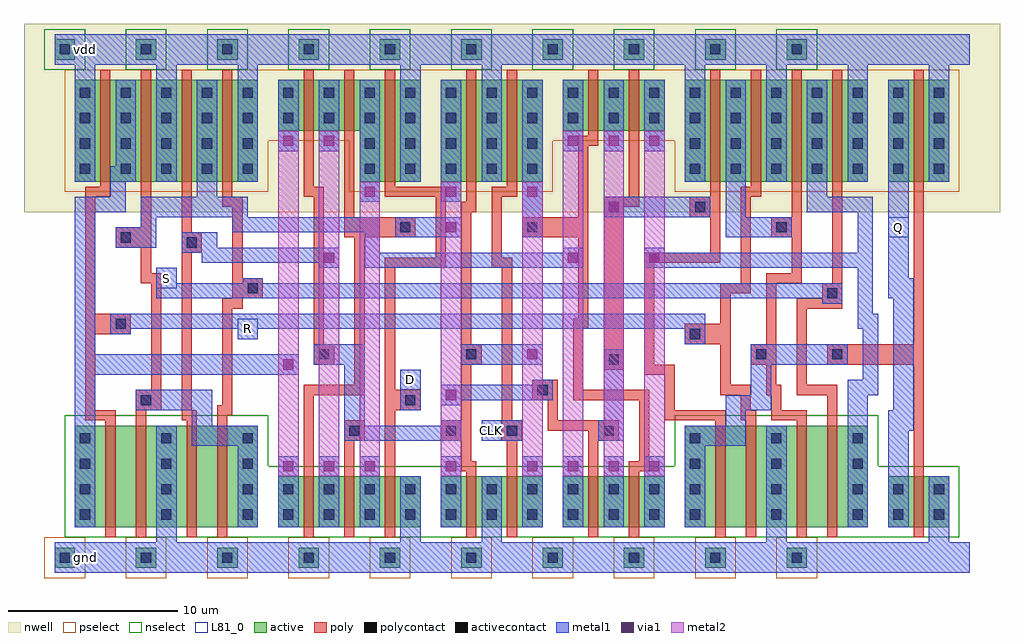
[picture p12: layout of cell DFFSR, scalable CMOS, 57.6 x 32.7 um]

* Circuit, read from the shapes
.subckt DFFSR CLK D Q R S gnd vdd
M1 n1 R n2 gnd nfet w=6u l=0.6u
M2 gnd n3 n1 gnd nfet w=6u l=0.6u
M3 n4 n5 gnd gnd nfet w=6u l=0.6u
M4 n3 S n4 gnd nfet w=6u l=0.6u
M5 n5 n6 n2 gnd nfet w=3u l=0.6u
M6 n7 n8 n5 gnd nfet w=3u l=0.6u
M7 gnd D n7 gnd nfet w=3u l=0.6u
M8 gnd n8 n6 gnd nfet w=3u l=0.6u
M9 n8 CLK gnd gnd nfet w=3u l=0.6u
M10 n9 n6 n3 gnd nfet w=3u l=0.6u
M11 n10 n8 n9 gnd nfet w=3u l=0.6u
M12 n11 n9 n12 gnd nfet w=6u l=0.6u
M13 gnd R n11 gnd nfet w=6u l=0.6u
M14 n13 n12 gnd gnd nfet w=6u l=0.6u
M15 n10 S n13 gnd nfet w=6u l=0.6u
M16 gnd n12 Q gnd nfet w=3u l=0.6u
M17 n2 R vdd vdd pfet w=6u l=0.6u
M18 vdd n3 n2 vdd pfet w=6u l=0.6u
M19 n3 n5 vdd vdd pfet w=6u l=0.6u
M20 vdd S n3 vdd pfet w=6u l=0.6u
M21 n5 n8 n2 vdd pfet w=3u l=0.6u
M22 n7 n6 n5 vdd pfet w=3u l=0.6u
M23 vdd D n7 vdd pfet w=6u l=0.6u
M24 vdd n8 n6 vdd pfet w=6u l=0.6u
M25 n8 CLK vdd vdd pfet w=6u l=0.6u
M26 n9 n8 n3 vdd pfet w=3u l=0.6u
M27 n10 n6 n9 vdd pfet w=3u l=0.6u
M28 n12 n9 vdd vdd pfet w=6u l=0.6u
M29 vdd R n12 vdd pfet w=6u l=0.6u
M30 n10 n12 vdd vdd pfet w=6u l=0.6u
M31 vdd S n10 vdd pfet w=6u l=0.6u
M32 vdd n12 Q vdd pfet w=6u l=0.6u
.ends

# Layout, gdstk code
import gdstk
lib = gdstk.Library(unit=1e-6, precision=1e-08)
def R(c, l, rs):  # rectangles x0, y0, x1, y1
    for r in rs: c.add(gdstk.rectangle(r[:2], r[2:], *l))
def A(c, l, x, y, w, h, nx, ny, dx, dy):  # array of equal rectangles
    R(c, l, [(x+i*dx, y+j*dy, x+i*dx+w, y+j*dy+h) for i in range(nx) for j in range(ny)])
nwell = (42, 0)
active = (43, 0)
pselect = (44, 0)
nselect = (45, 0)
poly = (46, 0)
polycontact = (47, 0)
activecontact = (48, 0)
metal1 = (49, 0)
via1 = (50, 0)
metal2 = (51, 0)
L81_0 = (81, 0)

dffsr = lib.new_cell('DFFSR')
R(dffsr, nwell, [(-2.4,20.4,55.2,31.5)])
A(dffsr, active, -0.6, -0.6, 1.2, 1.2, 10, 2, 4.8, 30)
R(dffsr, active, [(0.6,1.8,11.4,7.8), (12.6,1.8,21,4.8), (22.2,1.8,28.2,4.8), (29.4,1.8,35.4,4.8), (36.6,1.8,47.4,7.8), (48.6,1.8,52.2,4.8), (0.6,22.2,11.4,28.2), (17.4,22.2,21,25.2), (22.2,22.2,28.2,28.2), (36.6,22.2,47.4,28.2), (48.6,22.2,52.2,28.2), (12.6,25.2,21,28.2), (29.4,25.2,35.4,28.2)])
A(dffsr, pselect, -1.2, -1.2, 2.4, 2.4, 10, 1, 4.8, 0)
R(dffsr, pselect, [(0,21.6,12,24.6), (16.8,21.6,28.8,24.6), (36,21.6,52.8,24.6), (0,24.6,52.8,28.8)])
A(dffsr, nselect, -1.2, 28.8, 2.4, 2.4, 10, 1, 4.8, 0)
R(dffsr, nselect, [(0,1.2,52.8,5.4), (0,5.4,12,8.4), (36,5.4,48,8.4)])
R(dffsr, poly, [(2.4,1.2,3,8.1), (4.2,1.2,4.8,8.7), (7.2,1.2,7.8,8.1), (9,1.2,9.6,8.4), (14.1,1.2,14.7,9.6), (16.5,1.2,17.1,6.9), (18.9,1.2,19.5,8.7), (23.7,1.2,24.3,5.1), (26.1,1.2,26.7,6.9), (30.9,1.2,31.5,6.9), (33.3,1.2,33.9,5.1), (38.4,1.2,39,8.1), (40.2,1.2,40.8,8.1), (43.2,1.2,43.8,8.1), (45,1.2,45.6,9.6), (50.1,1.2,50.7,11.4), (23.4,5.1,24.3,5.7), (33.3,5.1,34.5,5.7), (23.4,5.7,24,6.9), (33.9,5.7,34.5,9.3), (16.5,6.9,17.7,8.1), (22.2,6.9,24,8.1), (25.8,6.9,27,8.1), (30.9,6.9,32.7,7.5), (28.5,7.5,32.7,8.1), (1.2,8.1,3,8.7), (6.9,8.1,7.8,8.7), (23.4,8.1,24,11.4), (25.8,8.1,26.4,17.1), (28.5,8.1,29.1,9.3), (35.4,8.1,39,8.7), (39.9,8.1,40.8,8.7), (41.7,8.1,43.8,8.7), (9,8.4,9.9,9), (1.2,8.7,1.8,13.2), (4.2,8.7,5.7,9.9), (6.9,8.7,7.5,18), (18.9,8.7,21,9.9), (35.4,8.7,36,10.8), (39.9,8.7,40.5,9.6), (41.7,8.7,42.3,9.6), (9.3,9,9.9,14.7), (27.6,9.3,29.1,10.5), (30,9.3,34.5,9.9), (14.1,9.6,17.7,10.2), (38.7,9.6,40.5,10.2), (41.4,9.6,42.3,10.2), (43.2,9.6,45.6,10.2), (5.1,9.9,5.7,16.2), (18.9,9.9,19.5,17.1), (30,9.9,30.6,13.5), (17.1,10.2,17.7,18.9), (38.7,10.2,39.3,12.6), (41.4,10.2,42,11.4), (43.2,10.2,43.8,14.7), (34.2,10.8,36,11.4), (31.8,11.1,33,20.7), (14.7,11.4,15.9,12.6), (23.4,11.4,24.6,12.6), (34.2,11.4,34.8,17.4), (40.5,11.4,42,12.6), (45,11.4,50.7,12.6), (14.7,12.6,15.3,21.3), (23.4,12.6,24,20.4), (36.6,12.6,39.3,13.8), (41.4,12.6,42,16.2), (50.1,12.6,50.7,28.8), (1.2,13.2,3.9,14.4), (30,13.5,30.9,14.1), (38.7,13.8,39.3,15.6), (30.3,14.1,30.9,18.9), (1.2,14.4,1.8,21.3), (9.3,14.7,10.5,15.3), (43.2,14.7,45.9,15.3), (9.9,15.3,11.7,16.5), (44.7,15.3,45.9,16.2), (38.7,15.6,40.5,16.2), (4.5,16.2,5.7,16.8), (39.9,16.2,40.5,21.3), (41.4,16.2,43.5,16.8), (45.3,16.2,45.9,28.8), (9.9,16.5,10.5,20.7), (4.5,16.8,5.1,18.3), (42.9,16.8,43.5,18.9), (18.9,17.1,22.5,17.7), (25.2,17.1,26.4,17.7), (34.2,17.4,38.7,18), (21.9,17.7,22.5,21.3), (25.2,17.7,25.8,21.3), (6.9,18,8.1,19.2), (38.1,18,38.7,20.1), (3,18.3,5.1,19.5), (16.5,18.9,20.7,20.1), (27,18.9,30.9,20.1), (41.7,18.9,43.5,20.1), (6.9,19.2,7.5,28.8), (4.5,19.5,5.1,28.8), (16.5,20.1,17.1,28.8), (30.3,20.1,30.9,24.3), (36.9,20.1,38.7,21.3), (42.9,20.1,43.5,28.8), (23.4,20.4,24.3,21), (9.3,20.7,10.5,21.3), (31.8,20.7,33.9,21.3), (23.7,21,24.3,28.8), (1.2,21.3,2.7,21.9), (9.3,21.3,9.9,28.8), (14.1,21.3,15.3,21.9), (18.9,21.3,22.5,21.9), (25.2,21.3,26.7,21.9), (33.3,21.3,33.9,28.8), (38.1,21.3,38.7,28.8), (39.9,21.3,41.1,21.9), (2.1,21.9,2.7,28.8), (14.1,21.9,14.7,28.8), (18.9,21.9,19.5,28.8), (26.1,21.9,26.7,28.8), (40.5,21.9,41.1,28.8), (30.3,24.3,31.5,24.9), (30.9,24.9,31.5,28.8)])
R(dffsr, polycontact, [(16.8,7.2,17.4,7.8), (22.5,7.2,23.1,7.8), (26.1,7.2,26.7,7.8), (31.8,7.2,32.4,7.8), (4.5,9,5.1,9.6), (20.1,9,20.7,9.6), (27.9,9.6,28.5,10.2), (32.1,11.4,32.7,12), (15,11.7,15.6,12.3), (23.7,11.7,24.3,12.3), (40.8,11.7,41.4,12.3), (45.3,11.7,45.9,12.3), (36.9,12.9,37.5,13.5), (3,13.5,3.6,14.1), (45,15.3,45.6,15.9), (10.8,15.6,11.4,16.2), (7.2,18.3,7.8,18.9), (3.3,18.6,3.9,19.2), (19.8,19.2,20.4,19.8), (27.3,19.2,27.9,19.8), (42,19.2,42.6,19.8), (37.2,20.4,37.8,21)])
A(dffsr, activecontact, -0.3, -0.3, 0.6, 0.6, 10, 2, 4.8, 30)
A(dffsr, activecontact, 0.9, 2.25, 0.6, 0.6, 3, 4, 4.8, 1.5)
A(dffsr, activecontact, 12.9, 2.25, 0.6, 0.6, 11, 2, 2.4, 1.5)
A(dffsr, activecontact, 46.5, 2.25, 0.6, 0.6, 3, 2, 2.4, 1.5)
A(dffsr, activecontact, 36.9, 5.25, 0.6, 0.6, 3, 2, 4.8, 1.5)
A(dffsr, activecontact, 0.9, 22.65, 0.6, 0.6, 5, 2, 2.4, 1.5)
A(dffsr, activecontact, 17.7, 22.65, 0.6, 0.6, 5, 2, 2.4, 1.5)
A(dffsr, activecontact, 36.9, 22.65, 0.6, 0.6, 7, 2, 2.4, 1.5)
A(dffsr, activecontact, 0.9, 25.65, 0.6, 0.6, 22, 2, 2.4, 1.5)
R(dffsr, activecontact, [(41.7,2.25,42.3,2.85), (41.7,3.75,42.3,4.35)])
A(dffsr, metal1, 12.6, 1.8, 1.2, 4.2, 3, 1, 2.4, 0)
A(dffsr, metal1, 27, 1.8, 1.2, 4.2, 4, 1, 2.4, 0)
A(dffsr, metal1, 0.6, 22.2, 1.2, 6.9, 3, 1, 4.8, 0)
A(dffsr, metal1, 36.6, 22.2, 1.2, 6.9, 4, 1, 4.8, 0)
A(dffsr, metal1, 29.4, 24, 1.2, 4.2, 3, 1, 2.4, 0)
R(dffsr, metal1, [(-0.6,-0.9,53.4,0.9), (5.4,0.9,6.6,7.8), (19.8,0.9,21,4.8), (24.6,0.9,25.8,4.8), (41.4,0.9,42.6,7.8), (51,0.9,52.2,4.8), (0.6,1.8,1.8,10.8), (10.2,1.8,11.4,6.6), (22.2,1.8,23.4,6), (36.6,1.8,37.8,6.6), (46.2,1.8,47.4,9.6), (48.6,1.8,49.8,7.5), (7.5,6.6,11.4,7.8), (36.6,6.6,40.2,7.8), (16.5,6.9,23.4,7.8), (24.6,6.9,27,8.1), (31.5,6.9,33,8.1), (48.6,7.5,50.1,8.7), (7.5,7.8,8.7,8.7), (16.5,7.8,17.7,11.4), (22.2,7.8,23.4,8.1), (39,7.8,40.2,8.7), (31.8,8.1,33,12.3), (4.2,8.7,8.7,9.9), (19.8,8.7,21,11.1), (39,8.7,41.7,9.6), (48.9,8.7,50.1,15.3), (22.2,9,23.4,9.3), (22.2,9.3,28.8,10.2), (40.5,9.6,41.7,11.4), (46.2,9.6,48,10.5), (27.6,10.2,28.8,10.5), (47.1,10.5,48,13.5), (0.6,10.8,13.8,12), (14.7,11.4,17.7,12.6), (23.4,11.4,28.2,12.6), (40.5,11.4,46.2,12.6), (0.6,12,1.8,20.4), (36.6,12.6,37.8,13.5), (10.2,12.9,11.4,13.5), (2.7,13.2,3.9,13.5), (2.7,13.5,37.8,14.4), (46.8,13.5,48,14.4), (46.8,14.4,47.7,17.1), (44.7,15,45.9,15.3), (5.4,15.3,45.9,16.2), (48.6,15.3,50.1,16.5), (5.4,16.2,6.6,17.1), (10.5,16.2,11.7,16.5), (48.6,16.5,49.8,28.2), (15,17.1,16.2,17.4), (17.7,17.1,30.6,18), (34.2,17.1,47.7,18), (8.1,17.4,16.2,18), (6.9,18,16.2,18.3), (17.7,18,18.6,19.2), (29.4,18,30.6,18.3), (34.2,18,35.4,18.3), (46.8,18,47.7,20.4), (3,18.3,5.4,19.5), (6.9,18.3,9,19.2), (19.5,18.9,23.4,20.1), (27,18.9,28.2,28.2), (39,18.9,42.9,20.1), (9.9,19.2,18.6,20.1), (4.5,19.5,5.4,20.1), (4.5,20.1,10.8,21.3), (31.8,20.1,38.1,21.3), (39,20.1,40.2,28.2), (0.6,20.4,3.6,21.3), (43.8,20.4,47.7,21.3), (17.4,21,18.6,28.2), (22.2,21,23.4,28.2), (2.7,21.3,3.6,22.2), (7.8,21.3,9,28.2), (43.8,21.3,45,28.2), (2.7,22.2,4.2,23.1), (19.8,22.2,21,29.1), (24.6,22.2,25.8,29.1), (3,23.1,4.2,28.2), (12.6,24,13.8,28.2), (15,24,16.2,28.2), (-0.6,29.1,53.4,30.9)])
A(dffsr, via1, 12.9, 5.1, 0.6, 0.6, 3, 1, 2.4, 0)
A(dffsr, via1, 27.3, 5.1, 0.6, 0.6, 4, 1, 2.4, 0)
A(dffsr, via1, 17.7, 21.3, 0.6, 0.6, 3, 1, 4.8, 0)
A(dffsr, via1, 29.7, 24.3, 0.6, 0.6, 3, 1, 2.4, 0)
R(dffsr, via1, [(22.5,5.1,23.1,5.7), (22.5,9.3,23.1,9.9), (12.9,11.1,13.5,11.7), (27.3,11.7,27.9,12.3), (15.3,17.4,15.9,18), (29.7,17.4,30.3,18), (34.5,17.4,35.1,18), (22.5,19.2,23.1,19.8), (32.1,20.4,32.7,21), (12.9,24.3,13.5,24.9), (15.3,24.3,15.9,24.9)])
A(dffsr, metal2, 17.4, 4.8, 1.2, 17.4, 3, 1, 4.8, 0)
A(dffsr, metal2, 29.4, 4.8, 1.2, 20.4, 3, 1, 2.4, 0)
R(dffsr, metal2, [(12.6,4.8,13.8,25.2), (15,4.8,16.2,25.2)])
R(dffsr, L81_0, [(24.6,6.9,25.8,8.1), (19.8,9.9,21,11.1), (10.2,12.9,11.4,14.1), (5.4,15.9,6.6,17.1), (48.6,18.9,49.8,20.1)])
dffsr.add(gdstk.Label('gnd', (1.2,0), layer=109, texttype=0))
dffsr.add(gdstk.Label('vdd', (1.2,30), layer=109, texttype=0))
dffsr.add(gdstk.Label('D', (20.4,10.5), layer=109, texttype=0))
dffsr.add(gdstk.Label('S', (6,16.5), layer=109, texttype=0))
dffsr.add(gdstk.Label('R', (10.8,13.5), layer=109, texttype=0))
dffsr.add(gdstk.Label('Q', (49.2,19.5), layer=109, texttype=0))
dffsr.add(gdstk.Label('CLK', (25.2,7.5), layer=109, texttype=0))

lib.write_gds('DFFSR.gds')
